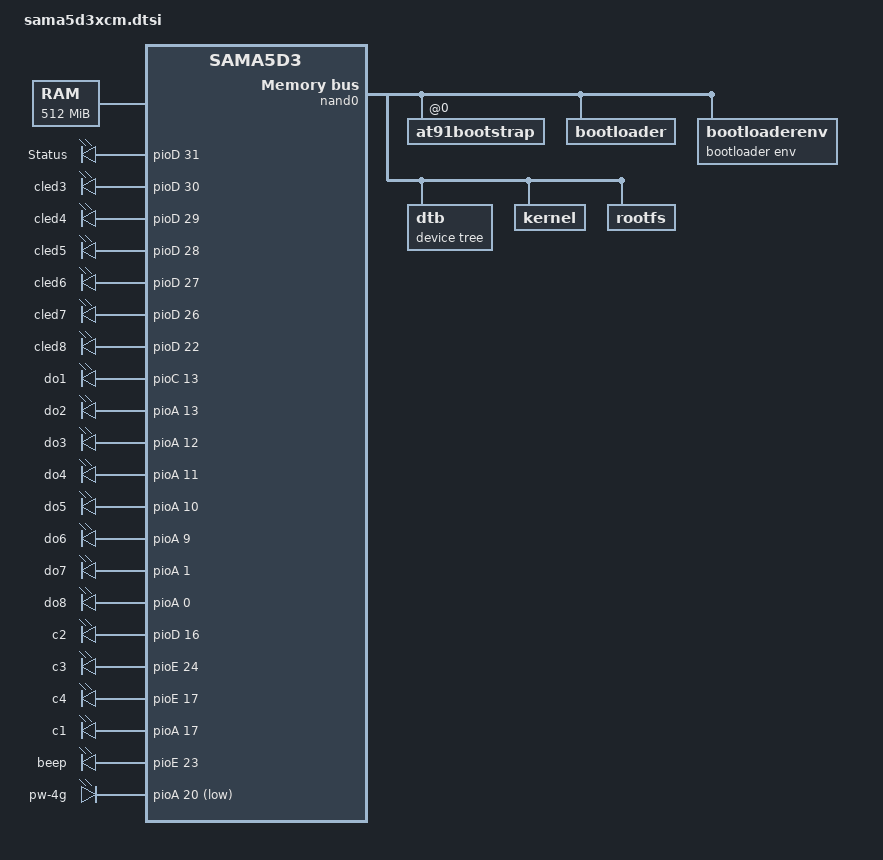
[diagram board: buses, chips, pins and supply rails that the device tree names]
/*
 * sama5d3xcm.dtsi - Device Tree Include file for SAMA5D3x CPU Module
 *
 *  Copyright (C) 2013 Atmel,
 *                2013 Ludovic Desroches <ludovic.desroches@atmel.com>
 *
 * Licensed under GPLv2 or later.
 */

/ {
	compatible = "atmel,sama5d3xcm", "atmel,sama5d3", "atmel,sama5";

	chosen {
		bootargs = "rootfstype=ubifs ubi.mtd=5 root=ubi0:rootfs";
		stdout-path = "serial0:115200n8";
	};

	memory {
		reg = <0x20000000 0x20000000>;
	};

	clocks {
		slow_xtal {
			clock-frequency = <32768>;
		};

		main_xtal {
			clock-frequency = <12000000>;
		};
	};

	ahb {
		apb {
			spi0: spi@f0004000 {
				cs-gpios = <&pioD 13 0>, <0>, <0>, <0>;
			};
		};

		nand0: nand@60000000 {
			nand-bus-width = <8>;
			nand-ecc-mode = "hw";
			atmel,has-pmecc;
			atmel,pmecc-cap = <4>;
			atmel,pmecc-sector-size = <512>;
			nand-on-flash-bbt;
			status = "okay";

			at91bootstrap@0 {
				label = "at91bootstrap";
				reg = <0x0 0x40000>;
			};

			bootloader@40000 {
				label = "bootloader";
				reg = <0x40000 0x80000>;
			};

			bootloaderenv@c0000 {
				label = "bootloader env";
				reg = <0xc0000 0xc0000>;
			};

			dtb@180000 {
				label = "device tree";
				reg = <0x180000 0x80000>;
			};

			kernel@200000 {
				label = "kernel";
				reg = <0x200000 0x600000>;
			};

			rootfs@800000 {
				label = "rootfs";
				reg = <0x800000 0x0f800000>;
			};
		};
	};

	leds {
		compatible = "gpio-leds";

		/*
		 * cled1 does not controlled. It indicate the powered state. 
		 */

		cled2 {
			label = "Status";
			gpios = <&pioD 31 GPIO_ACTIVE_HIGH>;	/* PD31 LED-18*/
			linux,default-trigger = "heartbeat";
		};

		cled3 {
			label = "cled3";
			gpios = <&pioD 30 GPIO_ACTIVE_HIGH>; 	/*PD30 LED-19*/
			default-state = "off";	
		};

		cled4 {
			label = "cled4";
			gpios = <&pioD 29 GPIO_ACTIVE_HIGH>; 	/*PD29 LED-20*/
			default-state = "off";	
		};

		cled5 {
			label = "cled5";
			gpios = <&pioD 28 GPIO_ACTIVE_HIGH>; 	/*PD28 LED-21*/
			default-state = "off";	
		};
		
		cled6 {
			label = "cled6";
			gpios = <&pioD 27 GPIO_ACTIVE_HIGH>; 	/*PD27 LED-22*/
			default-state = "off";	
		};

		cled7 {
			label = "cled7";
			gpios = <&pioD 26 GPIO_ACTIVE_HIGH>; 	/*PD26 LED-23*/
			default-state = "off";	
		};

		cled8 {
			label = "cled8";
			gpios = <&pioD 22 GPIO_ACTIVE_HIGH>; 	/*PD22 LED-24*/
			default-state = "off";	
		};
	};


	do {
		compatible = "gpio-leds";
		do1 {
			label = "do1";
			gpios = <&pioC 13 GPIO_ACTIVE_HIGH>; 	/*PC13 LED-9*/
			default-state = "off";	
		};
		
		do2 {
			label = "do2";
			gpios = <&pioA 13 GPIO_ACTIVE_HIGH>; 	/*PA13 LED-10*/
			default-state = "off";	
		};

		do3 {
			label = "do3";
			gpios = <&pioA 12 GPIO_ACTIVE_HIGH>; 	/*PA12 LED-11*/
			default-state = "off";	
		};

		do4 {
			label = "do4";
			gpios = <&pioA 11 GPIO_ACTIVE_HIGH>; 	/*PA11 LED-12*/
			default-state = "off";	
		};

		do5 {
			label = "do5";
			gpios = <&pioA 10 GPIO_ACTIVE_HIGH>; 	/*PA10 LED-13*/
			default-state = "off";	
		};

		do6 {
			label = "do6";
			gpios = <&pioA 9 GPIO_ACTIVE_HIGH>; 	/*PA9 LED-14*/
			default-state = "off";	
		};

		do7 {
			label = "do7";
			gpios = <&pioA 1 GPIO_ACTIVE_HIGH>; 	/*PA1 LED-15*/
			default-state = "off";	
		};

		do8 {
			label = "do8";
			gpios = <&pioA 0 GPIO_ACTIVE_HIGH>; 	/*PA0 LED-16*/
			default-state = "off";	
		};
	};

	rs485c{
		compatible = "gpio-leds";

		cs1 {
			label = "c2";
			gpios = <&pioD 16 GPIO_ACTIVE_HIGH>; 	/*PD16 RS485-2 control*/
			default-state = "off";	
		};

		cs3 {
			label = "c3";
			gpios = <&pioE 24 GPIO_ACTIVE_HIGH>; 	/*PE24 RS485-3 control*/
			default-state = "off";	
		};

		cs4 {
			label = "c4";
			gpios = <&pioE 17 GPIO_ACTIVE_HIGH>; 	/*PE17 RS485-4 control*/
			default-state = "off";	
		};

		cs6 {
			label = "c1";
			gpios = <&pioA 17 GPIO_ACTIVE_HIGH>; 	/*PA17 RS485-1 control*/
			default-state = "off";	
		};

	};

	beeper{
		compatible = "gpio-leds";
		beep {
			label = "beep";
			gpios = <&pioE 23 GPIO_ACTIVE_HIGH>;		
			default-state = "off";	
		};

		pwgprs {
			label = "pw-4g";
			gpios = <&pioA 20 GPIO_ACTIVE_LOW>;		
			default-state = "on";	
		};
	};


};
